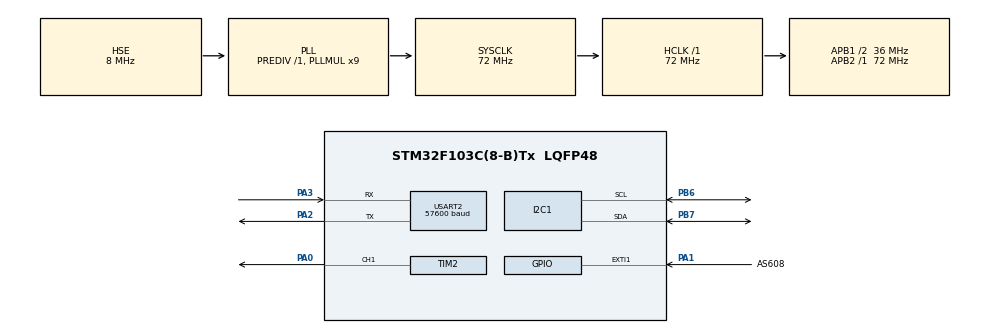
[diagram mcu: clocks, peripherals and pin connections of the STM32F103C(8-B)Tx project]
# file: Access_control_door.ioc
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Mcu.Family=STM32F1
Mcu.Name=STM32F103C(8-B)Tx
Mcu.Package=LQFP48
NVIC.EXTI1_IRQn=true\:0\:0\:false\:false\:true\:true\:true
NVIC.PriorityGroup=NVIC_PRIORITYGROUP_4
NVIC.TIM2_IRQn=true\:0\:0\:false\:false\:true\:true\:true
NVIC.USART2_IRQn=true\:0\:0\:false\:false\:true\:true\:true
PA0-WKUP.Signal=S_TIM2_CH1_ETR
PA1.GPIO_Label=AS608
PA1.GPIO_ModeDefaultEXTI=GPIO_MODE_IT_RISING
PA1.GPIO_PuPd=GPIO_PULLDOWN
PA1.Signal=GPXTI1
PA13.Mode=Serial_Wire
PA13.Signal=SYS_JTMS-SWDIO
PA14.Mode=Serial_Wire
PA14.Signal=SYS_JTCK-SWCLK
PA2.Mode=Asynchronous
PA2.Signal=USART2_TX
PA3.Mode=Asynchronous
PA3.Signal=USART2_RX
PB6.Mode=I2C
PB6.Signal=I2C1_SCL
PB7.Mode=I2C
PB7.Signal=I2C1_SDA
PD0-OSC_IN.Mode=HSE-External-Oscillator
PD0-OSC_IN.Signal=RCC_OSC_IN
PD1-OSC_OUT.Mode=HSE-External-Oscillator
PD1-OSC_OUT.Signal=RCC_OSC_OUT
ProjectManager.HeapSize=0x200
ProjectManager.StackSize=0x400
ProjectManager.TargetToolchain=STM32CubeIDE
RCC.AHBFreq_Value=72000000
RCC.APB1CLKDivider=RCC_HCLK_DIV2
RCC.APB1Freq_Value=36000000
RCC.APB1TimFreq_Value=72000000
RCC.APB2Freq_Value=72000000
RCC.APB2TimFreq_Value=72000000
RCC.HCLKFreq_Value=72000000
RCC.PLLMUL=RCC_PLL_MUL9
RCC.PLLSourceVirtual=RCC_PLLSOURCE_HSE
RCC.RTCClockSelection=RCC_RTCCLKSOURCE_LSE
RCC.SYSCLKFreq_VALUE=72000000
RCC.SYSCLKSource=RCC_SYSCLKSOURCE_PLLCLK
RCC.USBFreq_Value=72000000
SH.S_TIM2_CH1_ETR.0=TIM2_CH1,PWM Generation1 CH1
TIM2.AutoReloadPreload=TIM_AUTORELOAD_PRELOAD_ENABLE
TIM2.Channel-PWM\ Generation1\ CH1=TIM_CHANNEL_1
TIM2.Period=199
TIM2.Prescaler=7199
USART2.BaudRate=57600
USART2.VirtualMode=VM_ASYNC
VP_TIM2_VS_ClockSourceINT.Mode=Internal
board=custom

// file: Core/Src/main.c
/* USER CODE BEGIN Header */
/**
  ******************************************************************************
  * @file           : main.c
  * @brief          : Main program body
  ******************************************************************************
  * @attention
  *
  * <h2><center>&copy; Copyright (c) 2021 STMicroelectronics.
  * All rights reserved.</center></h2>
  *
  * This software component is licensed by ST under BSD 3-Clause license,
  * the "License"; You may not use this file except in compliance with the
  * License. You may obtain a copy of the License at:
  *                        opensource.org/licenses/BSD-3-Clause
  *
  ******************************************************************************
  */
/* USER CODE END Header */
#include "main.h"
#include "i2c.h"
#include "tim.h"
#include "usart.h"
#include "gpio.h"

/* USER CODE BEGIN Includes */
#include <string.h>
#include "oled.h"
#include "drv\commDrv\Re_commDrv.h"
#include "service\input\keypad\Re_keypad.h"
#include "as608.h"
/* USER CODE END Includes */

/* USER CODE BEGIN PTD */
uint8_t input[20], password[20];
uint8_t Length = 0, flags = 0;
char demo[] = "---------------;";
char sys[20] = {0};
//dsda
SysPara p = {0};
uint8_t read_ans=0;
uint8_t readSta=0;
uint8_t status_step=0;
uint16_t pageID;
uint16_t score;

/* USER CODE END PTD */

void SystemClock_Config(void);

/* USER CODE BEGIN 0 */
void callback(unsigned char x, unsigned char y)
{
  switch (x)
  {
  case 0:
    switch (y)
    {
    case 0:
      input[Length] = 0;
      sys[Length] = '*';
      Length++;
      break;
    case 1:
      input[Length] = 1;
      sys[Length] = '*';
      Length++;
      break;
    case 2:
      input[Length] = 2;
      sys[Length] = '*';
      Length++;
      break;
    case 3:
      input[Length] = 3;
      sys[Length] = '*';
      Length++;
      break;
    }
    break;
  case 1:
    switch (y)
    {
    case 0:
      input[Length] = 4;
      sys[Length] = '*';
      Length++;
      break;
    case 1:
      input[Length] = 5;
      sys[Length] = '*';
      Length++;
      break;
    case 2:
      input[Length] = 6;
      sys[Length] = '*';
      Length++;
      break;
    case 3:
      input[Length] = 7;
      sys[Length] = '*';
      Length++;
      break;
    }
    break;
  case 2:
    switch (y)
    {
    case 0:
      input[Length] = 8;
      sys[Length] = '*';
      Length++;
      break;
    case 1:
      input[Length] = 9;
      sys[Length] = '*';
      Length++;
      break;
    }
    break;
  case 3:
    switch (y)
    {
    case 3:
      verification();
      break;
    }
    break;
  }
}
/* USER CODE END 0 */

int main(void)
{

  /* MCU Configuration--------------------------------------------------------*/

  /* Reset of all peripherals, Initializes the Flash interface and the Systick. */
  HAL_Init();

  /* Configure the system clock */
  SystemClock_Config();

  /* USER CODE BEGIN SysInit */*

  /* USER CODE END SysInit */

  /* Initialize all configured peripherals */
  MX_GPIO_Init();
  MX_I2C1_Init();
  MX_TIM2_Init();
  MX_USART2_UART_Init();
  /* USER CODE BEGIN 2 */
  //keypad_init(Pullup, 100, callback);
  HAL_TIM_PWM_Start(&htim2, TIM_CHANNEL_1);
  __HAL_TIM_SetCompare(&htim2, TIM_CHANNEL_1, 8);
  OLED_Init();
  HAL_PWR_EnterSTOPMode(PWR_LOWPOWERREGULATOR_ON,PWR_STOPENTRY_WFI);
  //PS_BetterEnroll(3);
  /* USER CODE END 2 */

  /* Infinite loop */
  while (1)
  {

    /* USER CODE BEGIN 3 */
   	  	if (readSta)
	     {
	  		if(PS_GetImage()) {printf("no\r\n");}
	     	PS_GenChar(1);
	     	PS_Search(1,0,15,&pageID,&score);
	     	if(score >=60)
	     	{
	     		flags = 1;
	     	}
	     	else
	     	{
	     		flags = 2;
	     	}
	     }

	    if (flags == 1)
	    {
	      rightdoing();
	      __HAL_TIM_SetCompare(&htim2, TIM_CHANNEL_1,17);
	      myDelayMS(4000);
	      __HAL_TIM_SetCompare(&htim2, TIM_CHANNEL_1,8);
	      myDelayMS(1000);
	      flags = 0;
	      Length = 0;
	      memset(password, 0, sizeof(password));
	      memset(input, 0, sizeof(input));
	      memcpy(sys, demo, 15);
	      HAL_PWR_EnterSTOPMode(PWR_LOWPOWERREGULATOR_ON,PWR_STOPENTRY_WFI);
	    }
	    else if(flags == 2)
	    {
	      wrongdoing();
	      //Menu_display();
	      flags = 0;
	      Length = 0;
	      memset(password, 0, sizeof(password));
	      memset(input, 0, sizeof(input));
	      memcpy(sys, demo, 15);
	      HAL_PWR_EnterSTOPMode(PWR_LOWPOWERREGULATOR_ON,PWR_STOPENTRY_WFI);
	    }
	    else
	    {
	    	HAL_PWR_EnterSTOPMode(PWR_LOWPOWERREGULATOR_ON,PWR_STOPENTRY_WFI);
	    }
}
  /* USER CODE END 3 */
}

void SystemClock_Config(void)
{
  RCC_OscInitTypeDef RCC_OscInitStruct = {0};
  RCC_ClkInitTypeDef RCC_ClkInitStruct = {0};

  /** Initializes the RCC Oscillators according to the specified parameters
  * in the RCC_OscInitTypeDef structure.
  */
  RCC_OscInitStruct.OscillatorType = RCC_OSCILLATORTYPE_HSE;
  RCC_OscInitStruct.HSEState = RCC_HSE_ON;
  RCC_OscInitStruct.HSEPredivValue = RCC_HSE_PREDIV_DIV1;
  RCC_OscInitStruct.HSIState = RCC_HSI_ON;
  RCC_OscInitStruct.PLL.PLLState = RCC_PLL_ON;
  RCC_OscInitStruct.PLL.PLLSource = RCC_PLLSOURCE_HSE;
  RCC_OscInitStruct.PLL.PLLMUL = RCC_PLL_MUL9;
  if (HAL_RCC_OscConfig(&RCC_OscInitStruct) != HAL_OK)
  {
    Error_Handler();
  }
  /** Initializes the CPU, AHB and APB buses clocks
  */
  RCC_ClkInitStruct.ClockType = RCC_CLOCKTYPE_HCLK|RCC_CLOCKTYPE_SYSCLK
                              |RCC_CLOCKTYPE_PCLK1|RCC_CLOCKTYPE_PCLK2;
  RCC_ClkInitStruct.SYSCLKSource = RCC_SYSCLKSOURCE_PLLCLK;
  RCC_ClkInitStruct.AHBCLKDivider = RCC_SYSCLK_DIV1;
  RCC_ClkInitStruct.APB1CLKDivider = RCC_HCLK_DIV2;
  RCC_ClkInitStruct.APB2CLKDivider = RCC_HCLK_DIV1;

  if (HAL_RCC_ClockConfig(&RCC_ClkInitStruct, FLASH_LATENCY_2) != HAL_OK)
  {
    Error_Handler();
  }
}

/* USER CODE BEGIN 4 */

void Menu_display()
{
  OLED_ShowCHinese(0, 0, 0);   //??
  OLED_ShowCHinese(18, 0, 1);  //??
  OLED_ShowCHinese(36, 0, 2);  //??
  OLED_ShowCHinese(54, 0, 3);  //??
  OLED_ShowCHinese(72, 0, 4);  //??
  OLED_ShowCHinese(90, 0, 5);  //??
  OLED_ShowCHinese(108, 0, 6); //??year
  OLED_Clear();
  myDelayMS(500);
//  HAL_RTC_GetTime(&hrtc, &GetTime, RTC_FORMAT_BIN);
//  HAL_RTC_GetDate(&hrtc, &GetData, RTC_FORMAT_BIN);
//  OLED_ShowNum(0, 3, GetData.Year + 2021, 4, 12);
//  OLED_ShowString(25, 3, "-", 12);
//  OLED_ShowNum(30, 3, GetData.Month, 2, 12);
//  OLED_ShowString(45, 3, "-", 12);
//  OLED_ShowNum(50, 3, GetData.Date, 2, 12);
//  OLED_ShowNum(70, 3, GetTime.Hours, 2, 12);
//  OLED_ShowString(85, 3, ":", 12);
//  OLED_ShowNum(90, 3, GetTime.Minutes, 2, 12);
//  OLED_ShowString(105, 3, ":", 12);
//  OLED_ShowNum(110, 3, GetTime.Seconds, 2, 12);
//  OLED_ShowString(6, 5, "Enter Password", 12);
//  OLED_ShowString(0, 7, sys, 12);
}
void wrongdoing()
{
  OLED_Clear();
  OLED_ShowCHinese(0, 0, 0);   //??
  OLED_ShowCHinese(18, 0, 1);  //??
  OLED_ShowCHinese(36, 0, 2);  //??
  OLED_ShowCHinese(54, 0, 3);  //??
  OLED_ShowCHinese(72, 0, 4);  //??
  OLED_ShowCHinese(90, 0, 5);  //??
  OLED_ShowCHinese(108, 0, 6); //??year
  OLED_ShowCHinese(24, 4, 7);
  OLED_ShowCHinese(42, 4, 8);
  OLED_ShowCHinese(60, 4, 9);
  OLED_ShowCHinese(78, 4, 10);
  myDelayMS(800);
  OLED_Clear();
  myDelayMS(20);
}

void rightdoing()
{
  OLED_Clear();
  OLED_ShowCHinese(0, 0, 0);   //??
  OLED_ShowCHinese(18, 0, 1);  //??
  OLED_ShowCHinese(36, 0, 2);  //??
  OLED_ShowCHinese(54, 0, 3);  //??
  OLED_ShowCHinese(72, 0, 4);  //??
  OLED_ShowCHinese(90, 0, 5);  //??
  OLED_ShowCHinese(108, 0, 6); //??year
  OLED_ShowCHinese(24, 4, 11);
  OLED_ShowCHinese(42, 4, 12);
  OLED_ShowCHinese(60, 4, 13);
  OLED_ShowCHinese(78, 4, 14);
  myDelayMS(1000);
  OLED_Clear();
  myDelayMS(20);
}
void verification()
{
  if (Length != 8)
  {
    flags = 2;
  }
//  password[0] = GetTime.Hours / 10;
//  password[1] = GetTime.Hours % 10;
//  password[2] = GetTime.Minutes / 10;
//  password[3] = GetTime.Minutes % 10;
  password[4] = 6;
  password[5] = 0;
  password[6] = 1;
  password[7] = 1;
  for (int i = 0; i < Length; i++)
  {
    if (password[i] != input[i])
    {
      flags = 2;
    }
  }
  if (flags != 2)
  {
    flags = 1;
  }
}
void HAL_GPIO_EXTI_Callback(uint16_t GPIO_Pin)
{
	if(GPIO_Pin == AS608_Pin)
	{
		readSta = 1;
		SystemClock_Config();
		__HAL_GPIO_EXTI_CLEAR_IT(AS608_Pin);
	}
}
/* USER CODE END 4 */

void Error_Handler(void)
{
  __disable_irq();
  while (1)
  {
  }
}

/************************ (C) COPYRIGHT STMicroelectronics *****END OF FILE****/
